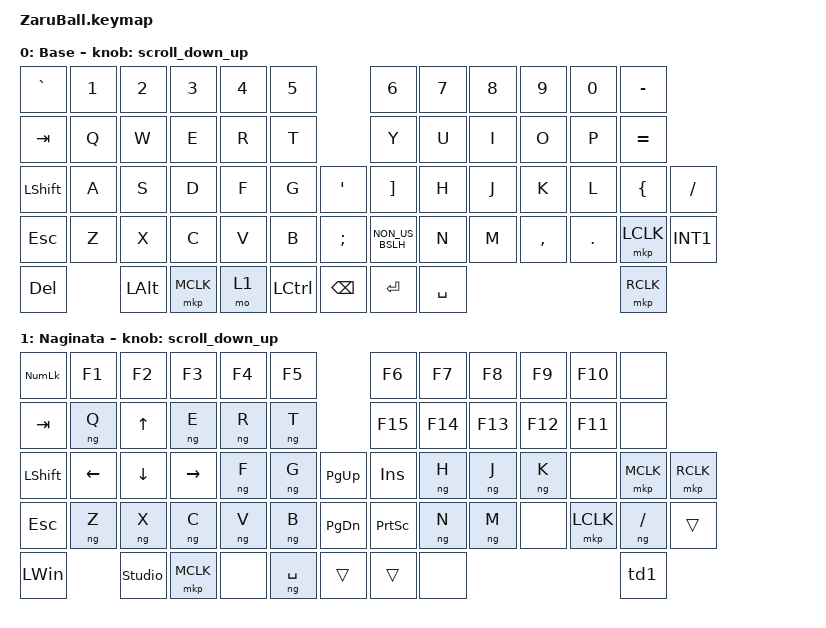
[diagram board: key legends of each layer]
//#include <dt-bindings/zmk/mouse.h>

#include <behaviors/rgbled_widget.dtsi>
#include <behaviors/naginata.dtsi>
#include <behaviors.dtsi>
#include <dt-bindings/zmk/keys.h>
#include <dt-bindings/zmk/pointing.h>

#define BASE 0
#define NAGINATA 1
#define LOWER 2
#define RAISE 3
#define ADJUST 4
#define MOUSE 5
#define MOD 6
#define SCROLL 2

// スクロール量の設定

#define ZMK_POINTING_DEFAULT_SCRL_VAL 200

/ {
    led_strip { chain-length = <5>; };
};

/ {
    conditional_layers {
        compatible = "zmk,conditional-layers";

        tri_layer {
            if-layers = <2 2>;
            then-layer = <3>;
        };
    };
};

&sl { release-after-ms = <250>; }; // time needed for double click (for mkp_exit_AML)
/ {
    macros {
        // When in AML, move to before layer(naginata or base) when key (except mouse button) pressed

        to_layer_0: to_layer_0 {
            compatible = "zmk,behavior-macro-one-param";
            #binding-cells = <1>;
            bindings = <&tog 0 &macro_param_1to1 &kp MACRO_PLACEHOLDER>;
            label = "TO_layer_0";
        };

        // When LCLK pressed, exit AML (after 250ms cause by sticky layer)

        mkp_exit_AML: mkp_exit_AML {
            compatible = "zmk,behavior-macro-one-param";
            #binding-cells = <1>;
            bindings =
                <&macro_press>,
                <&macro_param_1to1 &mkp MACRO_PLACEHOLDER>,
                <&macro_pause_for_release>,
                <&macro_release>,
                <&macro_param_1to1 &mkp MACRO_PLACEHOLDER>,
                <&macro_tap>,
                <&sl 0>;

            label = "MKP_EXIT_AML";
        };

        // Support swapping into Scroll layer when AML is activated

        to_scroll_layer: to_scroll_layer {
            compatible = "zmk,behavior-macro";
            #binding-cells = <0>;
            bindings =
                <&tog 0>,
                <&macro_press>,
                <&mo 0>,
                <&macro_pause_for_release>,
                <&macro_release>,
                <&mo 0>;

            //---------------------------------------------------------------------------------------
            // マウス操作中にもSCROLL並行可能
            // NAGINATAにいたとしてもSCROLL解除後はBASEへと戻ってしまう
            // <&to SCROLL>,
            // <&macro_pause_for_release>,
            // <&tog SCROLL>;
        };

        // NAGINATAにてModifierキー押下時にQwertyレイヤーを起動

        BL_mod: BL_mod {
            compatible = "zmk,behavior-macro-one-param";
            #binding-cells = <1>;
            bindings =
                <&macro_press>,
                <&mo 0 &macro_param_1to1>,
                <&macro_press>,
                <&kp MACRO_PLACEHOLDER>,
                <&macro_pause_for_release>,
                <&macro_param_1to1>,
                <&macro_release>,
                <&kp MACRO_PLACEHOLDER>,
                <&macro_release>,
                <&mo 0>;
        };

        ng_on: ng_on {
            //          label = "ZM_ng_on";

            compatible = "zmk,behavior-macro";
            #binding-cells = <0>;
            bindings = <&macro_tap>, <&kp LANGUAGE_1 &to 1>;

            // = <&macro_tap &kp LANGUAGE_1 &kp INTERNATIONAL_4 &to 1>; // default
        };

        ng_off: ng_off {
            //          label = "ZM_ng_off";

            compatible = "zmk,behavior-macro";
            #binding-cells = <0>;
            bindings = <&macro_tap>, <&kp LANGUAGE_2 &to 0>;

            // = <&macro_tap &kp LANGUAGE_2 &kp INTERNATIONAL_5 &to 0>; // default
        };
    };
};

/ {
    behaviors {
        // スクロール用のbehaviorの設定

        scroll_down_up: behavior_sensor_rotate_mouse_wheel_down_up {
            compatible = "zmk,behavior-sensor-rotate";
            #sensor-binding-cells = <0>;
            bindings = <&msc SCRL_DOWN>, <&msc SCRL_UP>;

            tap-ms = <20>; // スクロールのタップ時間
        };

        // Customed Hold-Tap for SandS
        // 他キーとの同時押しのみHold(Shift), 500m以上長押しすると、Tap(Space)のリピート

        SandS: SandS {
            compatible = "zmk,behavior-hold-tap";
            #binding-cells = <2>;
            flavor = "tap-unless-interrupted";
            tapping-term-ms = <500>; // tap-unless-interruptedのため意味は無いが、設定しないとエラーはく
            quick-tap-ms = <500>;
            bindings = <&kp>, <&kp>;

            display-name = "SandS";
        };

        ht_BASE: ht_BASE {
            compatible = "zmk,behavior-hold-tap";
            #binding-cells = <2>;
            flavor = "hold-preferred";
            tapping-term-ms = <200>;
            bindings = <&BL_mod>, <&kp>;

            display-name = "ht-BL_mod";
        };

        td0: tap_dance_0 {
            compatible = "zmk,behavior-tap-dance";
            #binding-cells = <0>;
            tapping-term-ms = <200>;
            bindings = <&mt LALT LANG2>, <&mo 0>, <&mo 0>;
        };

        td1: tap_dance_1 {
            compatible = "zmk,behavior-tap-dance";
            #binding-cells = <0>;
            tapping-term-ms = <200>;
            bindings = <&ht_BASE RCTL LANG1>, <&mo 0>, <&mo 0>;
        };
    };

    combos {
        compatible = "zmk,combos";

        combo_ng_on {
            timeout-ms = <300>;
            key-positions = <32 33>;
            bindings = <&ng_on>;
            layers = <0 1>; // default: <0>
        };

        combo_ng_off {
            timeout-ms = <300>;
            key-positions = <28 29>;
            bindings = <&ng_off>;
            layers = <0 1>;
        };
    };
};

/ {
    keymap {
        compatible = "zmk,keymap";

        base_layer {
            display-name = "Base";
            sensor-bindings = <&scroll_down_up>;
            bindings = <
&kp GRAVE       &kp N1  &kp N2        &kp N3     &kp N4  &kp N5                           &kp N6           &kp N7     &kp N8  &kp N9     &kp N0   &kp MINUS
&kp TAB         &kp Q   &kp W         &kp E      &kp R   &kp T                            &kp Y            &kp U      &kp I   &kp O      &kp P    &kp EQUAL
&kp LEFT_SHIFT  &kp A   &kp S         &kp D      &kp F   &kp G             &kp SQT        &kp RBKT         &kp H      &kp J   &kp K      &kp L    &kp LEFT_BRACE  &kp FSLH
&kp ESCAPE      &kp Z   &kp X         &kp C      &kp V   &kp B             &kp SEMICOLON  &kp NON_US_BSLH  &kp N      &kp M   &kp COMMA  &kp DOT  &mkp LCLK       &kp INT1
&kp DELETE              &kp LEFT_ALT  &mkp MCLK  &mo 1   &kp LEFT_CONTROL  &kp BACKSPACE  &kp ENTER        &kp SPACE                              &mkp RCLK
            >;
        };

        naginata_layer {
            display-name = "Naginata";
            bindings = <
&kp KP_NUMLOCK  &kp F1          &kp F2          &kp F3           &kp F4  &kp F5                    &kp F6           &kp F7   &kp F8   &kp F9   &kp F10    &none
&kp TAB         &ng Q           &kp UP_ARROW    &ng E            &ng R   &ng T                     &kp F15          &kp F14  &kp F13  &kp F12  &kp F11    &none
&kp LEFT_SHIFT  &kp LEFT_ARROW  &kp DOWN_ARROW  &kp RIGHT_ARROW  &ng F   &ng G      &kp PAGE_UP    &kp INS          &ng H    &ng J    &ng K    &none      &mkp MCLK  &mkp RCLK
&kp ESCAPE      &ng Z           &ng X           &ng C            &ng V   &ng B      &kp PAGE_DOWN  &kp PRINTSCREEN  &ng N    &ng M    &none    &mkp LCLK  &ng SLASH  &trans
&kp LEFT_WIN                    &studio_unlock  &mkp MCLK        &none   &ng SPACE  &trans         &trans           &none                                 &td1
            >;

            sensor-bindings = <&scroll_down_up>;
        };

        // Extra layer can be added in ZMK STUDIO
    };
};
